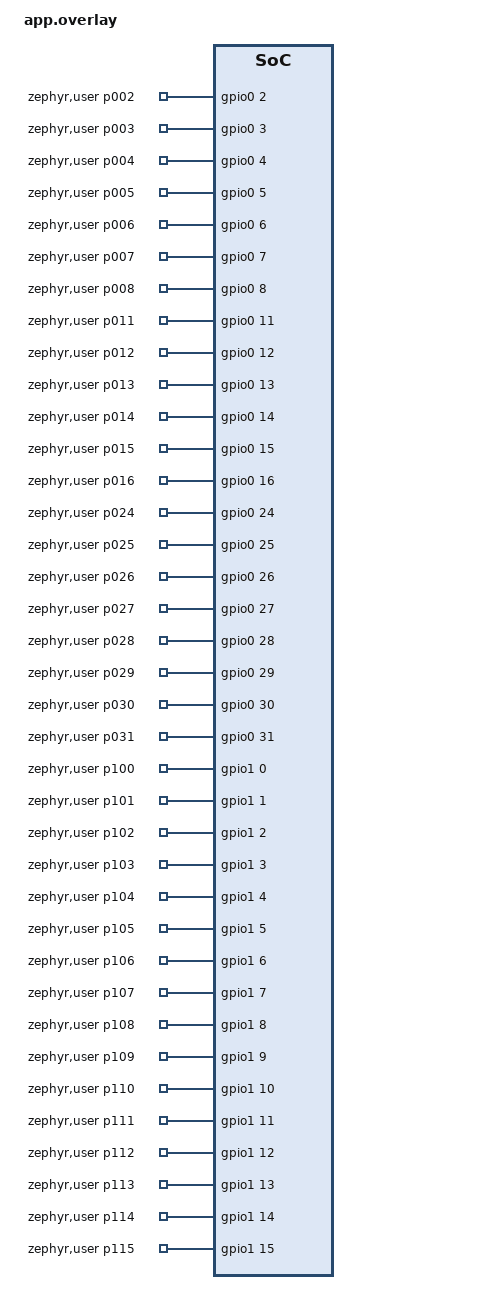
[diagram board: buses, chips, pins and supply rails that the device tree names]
&uart0 { status = "disabled"; };
&uart1 { status = "disabled"; };
&i2c0 { status = "disabled"; };
&i2c1 { status = "disabled"; };
&spi0 { status = "disabled"; };
&spi1 { status = "disabled"; };
&spi3 { status = "disabled"; };
&qspi { status = "disabled"; };
&pwm0 { status = "disabled"; };
&pwm1 { status = "disabled"; };
&pwm2 { status = "disabled"; };
&pwm3 { status = "disabled"; };
&adc { status = "disabled"; };
// &gpio0 { status = "disabled"; };
// &gpio1 { status = "disabled"; };
&flash_controller { status = "disabled"; };
&cryptocell { status = "disabled"; };
&rtc0 { status = "disabled"; };
&rtc1 { status = "disabled"; };
&timer0 { status = "disabled"; };
&timer1 { status = "disabled"; };
&timer2 { status = "disabled"; };
&timer3 { status = "disabled"; };
&timer4 { status = "disabled"; };

// /* Disable the LEDs and buttons */
&led0 { status = "disabled"; };
&led1 { status = "disabled"; };
&led2 { status = "disabled"; };
&led3 { status = "disabled"; };
&button0 { status = "disabled"; };
&button1 { status = "disabled"; };
&button2 { status = "disabled"; };
&button3 { status = "disabled"; };

// &gpiote { status = "disabled"; };

/ {
	zephyr,user {
		// p000-gpios = <&gpio0 0 0>;
		// p001-gpios = <&gpio0 1 0>;
		p002-gpios = <&gpio0 2 0>;
		p003-gpios = <&gpio0 3 0>;
		p004-gpios = <&gpio0 4 0>;
		p005-gpios = <&gpio0 5 0>;
		p006-gpios = <&gpio0 6 0>;
		p007-gpios = <&gpio0 7 0>;
		p008-gpios = <&gpio0 8 0>;
		// p009-gpios = <&gpio0 9 0>;
		// p010-gpios = <&gpio0 10 0>;
		p011-gpios = <&gpio0 11 0>;
		p012-gpios = <&gpio0 12 0>;
		p013-gpios = <&gpio0 13 0>;
		p014-gpios = <&gpio0 14 0>;
		p015-gpios = <&gpio0 15 0>;
		p016-gpios = <&gpio0 16 0>;
		// p017-gpios = <&gpio0 17 0>;
		// p018-gpios = <&gpio0 18 0>;
		// p019-gpios = <&gpio0 19 0>;
		// p020-gpios = <&gpio0 20 0>;
		// p021-gpios = <&gpio0 21 0>;
		// p022-gpios = <&gpio0 22 0>;
		// p023-gpios = <&gpio0 23 0>;
		p024-gpios = <&gpio0 24 0>;
		p025-gpios = <&gpio0 25 0>;
		p026-gpios = <&gpio0 26 0>;
		p027-gpios = <&gpio0 27 0>;
		p028-gpios = <&gpio0 28 0>;
		p029-gpios = <&gpio0 29 0>;
		p030-gpios = <&gpio0 30 0>;
		p031-gpios = <&gpio0 31 0>;

		p100-gpios = <&gpio1 0 0>;
		p101-gpios = <&gpio1 1 0>;
		p102-gpios = <&gpio1 2 0>;
		p103-gpios = <&gpio1 3 0>;
		p104-gpios = <&gpio1 4 0>;
		p105-gpios = <&gpio1 5 0>;
		p106-gpios = <&gpio1 6 0>;
		p107-gpios = <&gpio1 7 0>;
		p108-gpios = <&gpio1 8 0>;
		p109-gpios = <&gpio1 9 0>;
		p110-gpios = <&gpio1 10 0>;
		p111-gpios = <&gpio1 11 0>;
		p112-gpios = <&gpio1 12 0>;
		p113-gpios = <&gpio1 13 0>;
		p114-gpios = <&gpio1 14 0>;
		p115-gpios = <&gpio1 15 0>;
	};
};
